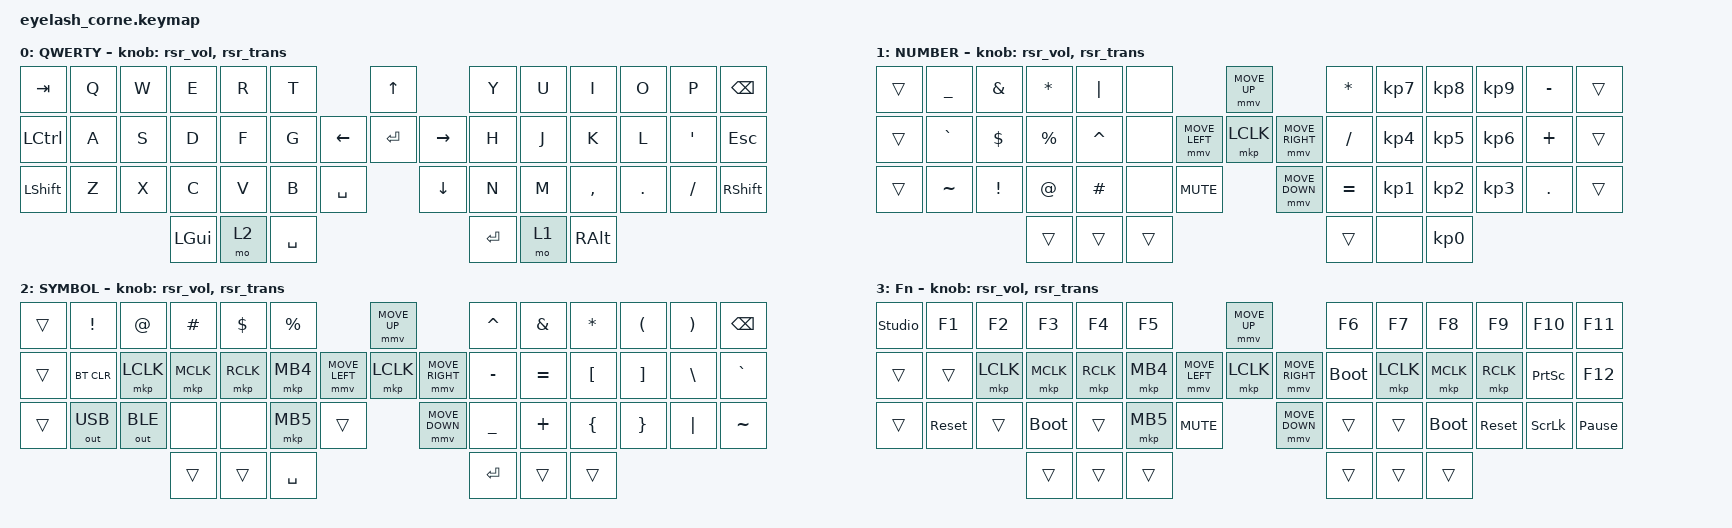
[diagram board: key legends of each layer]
#define ZMK_POINTING_DEFAULT_MOVE_VAL 1200  // 600
#define ZMK_POINTING_DEFAULT_SCRL_VAL 25   // 10

#include <input/processors.dtsi>
#include <zephyr/dt-bindings/input/input-event-codes.h>
#include <behaviors/runtime-sensor-rotate.dtsi>
#include <behaviors.dtsi>
#include <dt-bindings/zmk/bt.h>
#include <dt-bindings/zmk/keys.h>
#include <dt-bindings/zmk/outputs.h>
#include <dt-bindings/zmk/pointing.h>
#include <dt-bindings/zmk/rgb.h>

&mmv_input_listener { input-processors = <&zip_xy_scaler 2 1>; };

&msc_input_listener { input-processors = <&zip_scroll_scaler 2 1>; };

&msc {
    acceleration-exponent = <1>;      // 0
    time-to-max-speed-ms = <100>;       // 300
    delay-ms = <0>;                   // 0
};

&mmv {
    time-to-max-speed-ms = <500>;
    acceleration-exponent = <1>;
    trigger-period-ms = <16>;
};

&soft_off { hold-time-ms = <2000>; };

/ {
    behaviors {
        td0: td0 {
            compatible = "zmk,behavior-tap-dance";
            display-name = "Shift/Caps Lock Tap Dance";
            #binding-cells = <0>;
            bindings = <&kp LEFT_SHIFT>, <&kp CAPS>;
        };
    };

    rgb_encoder: rgb_encoder {
        compatible = "zmk,behavior-sensor-rotate";
        #sensor-binding-cells = <0>;
        bindings = <&rgb_ug RGB_BRI>, <&rgb_ug RGB_BRD>;
    };

    scroll_encoder: scroll_encoder {
        compatible = "zmk,behavior-sensor-rotate";
        #sensor-binding-cells = <0>;
        bindings = <&msc SCRL_DOWN>, <&msc SCRL_UP>;

        tap-ms = <100>;
    };

    behaviors {
        rsr_vol: rsr_vol {
            compatible = "zmk,behavior-runtime-sensor-rotate";
            #sensor-binding-cells = <0>;
            tap-ms = <5>;
            cw-binding = <&kp C_VOL_UP>;
            ccw-binding = <&kp C_VOL_DN>;
        };

        rsr_trans: rsr_trans {
            compatible = "zmk,behavior-runtime-sensor-rotate";
            #sensor-binding-cells = <0>;
            tap-ms = <0>;
        };
    };

    combos {
        compatible = "zmk,combos";

        softoff {
            bindings = <&soft_off>;
            key-positions = <1 15 29>;
        };
    };

    keymap {
        compatible = "zmk,keymap";

        default_layer {
            display-name = "QWERTY";
            bindings = <
&kp TAB    &kp Q  &kp W  &kp E     &kp R  &kp T                             &kp UP                &kp Y      &kp U  &kp I      &kp O    &kp P             &kp BSPC
&kp LCTRL  &kp A  &kp S  &kp D     &kp F  &kp G                   &kp LEFT  &kp ENTER  &kp RIGHT  &kp H      &kp J  &kp K      &kp L    &kp SINGLE_QUOTE  &kp ESCAPE
&kp LSHFT  &kp Z  &kp X  &kp C     &kp V  &kp B      &kp SPACE              &kp DOWN              &kp N      &kp M  &kp COMMA  &kp DOT  &kp FSLH          &kp RSHIFT
                         &kp LGUI  &mo 2  &kp SPACE                                               &kp ENTER  &mo 1  &kp RALT
            >;

            sensor-bindings = <&rsr_vol &rsr_trans>;
        };

        lower_layer {
            display-name = "NUMBER";
            bindings = <
&trans  &kp UNDERSCORE  &kp AMPERSAND    &kp ASTERISK  &kp PIPE   &none                                 &mmv MOVE_UP                     &kp ASTERISK  &kp KP_N7        &kp KP_N8        &kp KP_N9  &kp MINUS   &trans
&trans  &kp GRAVE       &kp DOLLAR       &kp PERCENT   &kp CARET  &none                 &mmv MOVE_LEFT  &mkp LCLK       &mmv MOVE_RIGHT  &kp SLASH     &kp KP_NUMBER_4  &kp KP_N5        &kp KP_N6  &kp PLUS    &trans
&trans  &kp TILDE       &kp EXCLAMATION  &kp AT_SIGN   &kp HASH   &none   &kp C_MUTE                    &mmv MOVE_DOWN                   &kp EQUAL     &kp KP_N1        &kp KP_N2        &kp KP_N3  &kp PERIOD  &trans
                                         &trans        &trans     &trans                                                                 &trans        &none            &kp KP_NUMBER_0
            >;

            sensor-bindings = <&rsr_vol &rsr_trans>;
        };

        raise_layer {
            display-name = "SYMBOL";
            bindings = <
&trans  &kp EXCL      &kp AT        &kp HASH   &kp DLLR   &kp PRCNT                            &mmv MOVE_UP                     &kp CARET  &kp AMPS   &kp ASTRK  &kp LPAR  &kp RPAR  &kp BSPC
&trans  &bt BT_CLR    &mkp LCLK     &mkp MCLK  &mkp RCLK  &mkp MB4             &mmv MOVE_LEFT  &mkp LCLK       &mmv MOVE_RIGHT  &kp MINUS  &kp EQUAL  &kp LBKT   &kp RBKT  &kp BSLH  &kp GRAVE
&trans  &out OUT_USB  &out OUT_BLE  &none      &none      &mkp MB5   &trans                    &mmv MOVE_DOWN                   &kp UNDER  &kp PLUS   &kp LBRC   &kp RBRC  &kp PIPE  &kp TILDE
                                    &trans     &trans     &kp SPACE                                                             &kp RET    &trans     &trans
            >;

            sensor-bindings = <&rsr_vol &rsr_trans>;
        };

        layer_3 {
            display-name = "Fn";
            bindings = <
&studio_unlock  &kp F1      &kp F2     &kp F3       &kp F4     &kp F5                                  &mmv MOVE_UP                     &kp F6       &kp F7     &kp F8       &kp F9      &kp F10          &kp F11
&trans          &trans      &mkp LCLK  &mkp MCLK    &mkp RCLK  &mkp MB4                &mmv MOVE_LEFT  &mkp LCLK       &mmv MOVE_RIGHT  &bootloader  &mkp LCLK  &mkp MCLK    &mkp RCLK   &kp PRINTSCREEN  &kp F12
&trans          &sys_reset  &trans     &bootloader  &trans     &mkp MB5  &kp C_MUTE                    &mmv MOVE_DOWN                   &trans       &trans     &bootloader  &sys_reset  &kp SCROLLLOCK   &kp PAUSE_BREAK
                                       &trans       &trans     &trans                                                                   &trans       &trans     &trans
            >;

            sensor-bindings = <&rsr_vol &rsr_trans>;
        };
    };
};
